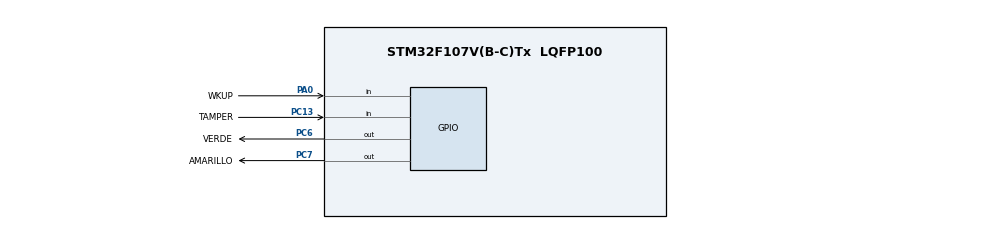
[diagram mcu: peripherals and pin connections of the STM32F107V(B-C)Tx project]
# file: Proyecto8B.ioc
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FREERTOS.CountingSemaphores01=semaverde,5,Dynamic,NULL;semarillo,5,Dynamic,NULL
FREERTOS.Tasks01=defaultTask,24,128,StartDefaultTask,Default,NULL,Dynamic,NULL,NULL;ledVerde,24,128,Start_led_verde,Default,NULL,Dynamic,NULL,NULL;ledAmarillo,24,128,Start_led_amarillo,Default,NULL,Dynamic,NULL,NULL;control_leds,16,128,Start_control_leds,Default,NULL,Dynamic,NULL,NULL
Mcu.Family=STM32F1
Mcu.Name=STM32F107V(B-C)Tx
Mcu.Package=LQFP100
NVIC.PriorityGroup=NVIC_PRIORITYGROUP_4
NVIC.TIM1_UP_IRQn=true\:15\:0\:false\:false\:true\:false\:false\:true\:true
NVIC.TimeBase=TIM1_UP_IRQn
NVIC.TimeBaseIP=TIM1
PA0-WKUP.GPIO_Label=WKUP
PA0-WKUP.Signal=GPIO_Input
PC13-TAMPER-RTC.GPIO_Label=TAMPER
PC13-TAMPER-RTC.Signal=GPIO_Input
PC6.GPIO_Label=VERDE
PC6.Signal=GPIO_Output
PC7.GPIO_Label=AMARILLO
PC7.Signal=GPIO_Output
ProjectManager.HeapSize=0x200
ProjectManager.StackSize=0x400
ProjectManager.TargetToolchain=STM32CubeIDE
RCC.USBFreq_Value=10666666.666666666
VP_FREERTOS_VS_CMSIS_V2.Mode=CMSIS_V2
VP_SYS_VS_ND.Mode=No_Debug
VP_SYS_VS_tim1.Mode=TIM1
board=custom

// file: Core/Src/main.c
/* USER CODE BEGIN Header */
/**
 ******************************************************************************
 * @file           : main.c
 * @brief          : Main program body
 ******************************************************************************
 * @attention
 *
 * Copyright (c) 2024 STMicroelectronics.
 * All rights reserved.
 *
 * This software is licensed under terms that can be found in the LICENSE file
 * in the root directory of this software component.
 * If no LICENSE file comes with this software, it is provided AS-IS.
 *
 ******************************************************************************
 */
/* USER CODE END Header */
#include "main.h"
#include "cmsis_os.h"

/* Definitions for defaultTask */
osThreadId_t defaultTaskHandle;
const osThreadAttr_t defaultTask_attributes = { .name = "defaultTask",
		.stack_size = 128 * 4, .priority = (osPriority_t) osPriorityNormal, };
/* Definitions for ledVerde */
osThreadId_t ledVerdeHandle;
const osThreadAttr_t ledVerde_attributes = { .name = "ledVerde", .stack_size =
		128 * 4, .priority = (osPriority_t) osPriorityNormal, };
/* Definitions for ledAmarillo */
osThreadId_t ledAmarilloHandle;
const osThreadAttr_t ledAmarillo_attributes = { .name = "ledAmarillo",
		.stack_size = 128 * 4, .priority = (osPriority_t) osPriorityNormal, };
/* Definitions for control_leds */
osThreadId_t control_ledsHandle;
const osThreadAttr_t control_leds_attributes =
		{ .name = "control_leds", .stack_size = 128 * 4, .priority =
				(osPriority_t) osPriorityBelowNormal, };
/* Definitions for semaverde */
osSemaphoreId_t semaverdeHandle;
const osSemaphoreAttr_t semaverde_attributes = { .name = "semaverde" };
/* Definitions for semarillo */
osSemaphoreId_t semarilloHandle;
const osSemaphoreAttr_t semarillo_attributes = { .name = "semarillo" };

void SystemClock_Config(void);
static void MX_GPIO_Init(void);
void StartDefaultTask(void *argument);
void Start_led_verde(void *argument);
void Start_led_amarillo(void *argument);
void Start_control_leds(void *argument);

int main(void) {

	/* MCU Configuration--------------------------------------------------------*/

	/* Reset of all peripherals, Initializes the Flash interface and the Systick. */
	HAL_Init();

	/* Configure the system clock */
	SystemClock_Config();

	/* Initialize all configured peripherals */
	MX_GPIO_Init();

	/* Init scheduler */
	osKernelInitialize();

	/* Create the semaphores(s) */
	/* creation of semaverde */
	semaverdeHandle = osSemaphoreNew(5, 0, &semaverde_attributes);

	/* creation of semarillo */
	semarilloHandle = osSemaphoreNew(5, 0, &semarillo_attributes);

	/* Create the thread(s) */
	/* creation of defaultTask */
	defaultTaskHandle = osThreadNew(StartDefaultTask, NULL,
			&defaultTask_attributes);

	/* creation of ledVerde */
	ledVerdeHandle = osThreadNew(Start_led_verde, NULL, &ledVerde_attributes);

	/* creation of ledAmarillo */
	ledAmarilloHandle = osThreadNew(Start_led_amarillo, NULL,
			&ledAmarillo_attributes);

	/* creation of control_leds */
	control_ledsHandle = osThreadNew(Start_control_leds, NULL,
			&control_leds_attributes);

	/* Start scheduler */
	osKernelStart();

	/* We should never get here as control is now taken by the scheduler */
	/* Infinite loop */
	while (1) {

	}
}

void SystemClock_Config(void) {
	RCC_OscInitTypeDef RCC_OscInitStruct = { 0 };
	RCC_ClkInitTypeDef RCC_ClkInitStruct = { 0 };

	/** Initializes the RCC Oscillators according to the specified parameters
	 * in the RCC_OscInitTypeDef structure.
	 */
	RCC_OscInitStruct.OscillatorType = RCC_OSCILLATORTYPE_HSI;
	RCC_OscInitStruct.HSIState = RCC_HSI_ON;
	RCC_OscInitStruct.HSICalibrationValue = RCC_HSICALIBRATION_DEFAULT;
	RCC_OscInitStruct.PLL.PLLState = RCC_PLL_NONE;
	RCC_OscInitStruct.PLL2.PLL2State = RCC_PLL_NONE;
	if (HAL_RCC_OscConfig(&RCC_OscInitStruct) != HAL_OK) {
		Error_Handler();
	}

	/** Initializes the CPU, AHB and APB buses clocks
	 */
	RCC_ClkInitStruct.ClockType = RCC_CLOCKTYPE_HCLK | RCC_CLOCKTYPE_SYSCLK
			| RCC_CLOCKTYPE_PCLK1 | RCC_CLOCKTYPE_PCLK2;
	RCC_ClkInitStruct.SYSCLKSource = RCC_SYSCLKSOURCE_HSI;
	RCC_ClkInitStruct.AHBCLKDivider = RCC_SYSCLK_DIV1;
	RCC_ClkInitStruct.APB1CLKDivider = RCC_HCLK_DIV1;
	RCC_ClkInitStruct.APB2CLKDivider = RCC_HCLK_DIV1;

	if (HAL_RCC_ClockConfig(&RCC_ClkInitStruct, FLASH_LATENCY_0) != HAL_OK) {
		Error_Handler();
	}

	/** Configure the Systick interrupt time
	 */
	__HAL_RCC_PLLI2S_ENABLE();
}

static void MX_GPIO_Init(void) {
	GPIO_InitTypeDef GPIO_InitStruct = { 0 };

	/* GPIO Ports Clock Enable */
	__HAL_RCC_GPIOC_CLK_ENABLE();
	__HAL_RCC_GPIOA_CLK_ENABLE();

	/*Configure GPIO pin Output Level */
	HAL_GPIO_WritePin(GPIOC, VERDE_Pin | AMARILLO_Pin, GPIO_PIN_RESET);

	/*Configure GPIO pin : TAMPER_Pin */
	GPIO_InitStruct.Pin = TAMPER_Pin;
	GPIO_InitStruct.Mode = GPIO_MODE_INPUT;
	GPIO_InitStruct.Pull = GPIO_NOPULL;
	HAL_GPIO_Init(TAMPER_GPIO_Port, &GPIO_InitStruct);

	/*Configure GPIO pin : WKUP_Pin */
	GPIO_InitStruct.Pin = WKUP_Pin;
	GPIO_InitStruct.Mode = GPIO_MODE_INPUT;
	GPIO_InitStruct.Pull = GPIO_NOPULL;
	HAL_GPIO_Init(WKUP_GPIO_Port, &GPIO_InitStruct);

	/*Configure GPIO pins : VERDE_Pin AMARILLO_Pin */
	GPIO_InitStruct.Pin = VERDE_Pin | AMARILLO_Pin;
	GPIO_InitStruct.Mode = GPIO_MODE_OUTPUT_PP;
	GPIO_InitStruct.Pull = GPIO_NOPULL;
	GPIO_InitStruct.Speed = GPIO_SPEED_FREQ_LOW;
	HAL_GPIO_Init(GPIOC, &GPIO_InitStruct);

}

void StartDefaultTask(void *argument) {
	for (;;) {
		osDelay(1);
	}
}

void Start_led_verde(void *argument) {
	/* USER CODE BEGIN Start_led_verde */
	/* Infinite loop */
	for (;;) {
		osSemaphoreAcquire(semaverdeHandle, 0xFFFFFFF);
		HAL_GPIO_WritePin(VERDE_GPIO_Port, VERDE_Pin, GPIO_PIN_SET);
		osDelay(300);
		HAL_GPIO_WritePin(VERDE_GPIO_Port, VERDE_Pin, GPIO_PIN_RESET);
		osDelay(300);
	}
	/* USER CODE END Start_led_verde */
}

void Start_led_amarillo(void *argument) {
	/* USER CODE BEGIN Start_led_amarillo */
	/* Infinite loop */
	for (;;) {
		osSemaphoreAcquire(semarilloHandle, 0xFFFFFFF);
		HAL_GPIO_WritePin(AMARILLO_GPIO_Port, AMARILLO_Pin, GPIO_PIN_SET);
		osDelay(200);
		HAL_GPIO_WritePin(AMARILLO_GPIO_Port, AMARILLO_Pin, GPIO_PIN_RESET);
		osDelay(200);
	}
	/* USER CODE END Start_led_amarillo */
}

void Start_control_leds(void *argument) {
	/* USER CODE BEGIN Start_control_leds */
	/* Infinite loop */

	unsigned short contador, i;
	//mientras no se plse el tamper, esperamos de forma activa
	while (HAL_GPIO_ReadPin(TAMPER_GPIO_Port, TAMPER_Pin) == 0) {
		osDelay(50);
	}
	for (;;) {
		if(HAL_GPIO_ReadPin(GPIOA, WKUP_Pin)==1){
			contador++;
			//incrementamos el contador en uno por cada pulsación
			while(HAL_GPIO_ReadPin(GPIOA,WKUP_Pin)==1){
				//hasta que no se libere no salimos
				osDelay(10);
			}
		}
		//ahora lo mismo con el tamper
		if(HAL_GPIO_ReadPin(GPIOC, TAMPER_Pin)==0){
			for(i = 0; i<contador; i++){
				osSemaphoreRelease(semaverdeHandle);
			}
			for(i = 0; i<contador; i++){
				osSemaphoreRelease(semarilloHandle);
			}
			contador =0;
			while(HAL_GPIO_ReadPin(GPIOC, TAMPER_Pin)==1){
				//esperamos a que se libere para salir
				osDelay(10);
			}
		}

		osDelay(10);
	}
	/* USER CODE END Start_control_leds */
}

void HAL_TIM_PeriodElapsedCallback(TIM_HandleTypeDef *htim) {
	if (htim->Instance == TIM1) {
		HAL_IncTick();
	}
}

void Error_Handler(void) {
	__disable_irq();
	while (1) {
	}
}
